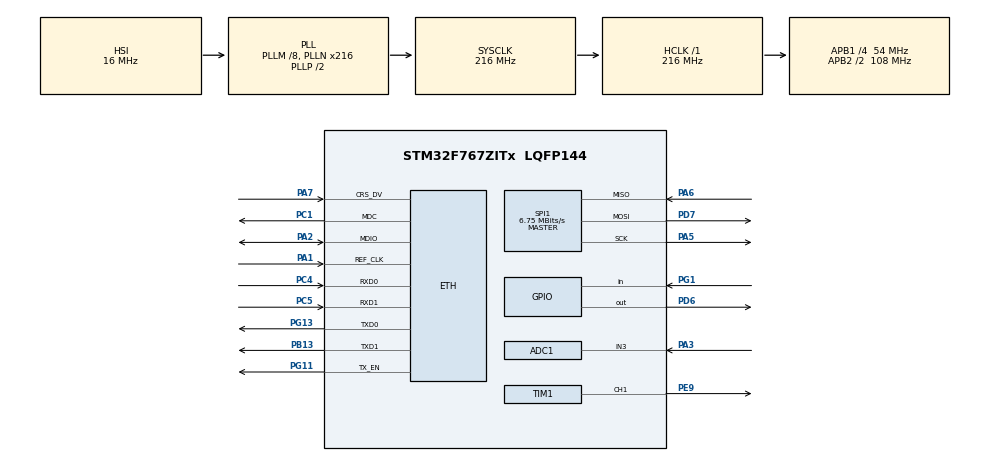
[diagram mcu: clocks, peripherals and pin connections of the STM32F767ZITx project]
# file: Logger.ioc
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ADC1.Channel-0\#ChannelRegularConversion=ADC_CHANNEL_3
ADC1.ContinuousConvMode=ENABLE
ADC1.NbrOfConversionFlag=1
ADC1.Rank-0\#ChannelRegularConversion=1
ADC1.SamplingTime-0\#ChannelRegularConversion=ADC_SAMPLETIME_3CYCLES
ADC1.master=1
CORTEX_M7.CPU_DCache=Enabled
CORTEX_M7.CPU_ICache=Enabled
CORTEX_M7.PREFETCH_ENABLE=1
ETH.MediaInterface=HAL_ETH_RMII_MODE
ETH.RxMode=ETH_RXINTERRUPT_MODE
FATFS._MAX_SS=4096
FATFS._USE_LFN=3
FREERTOS.INCLUDE_vTaskDelayUntil=1
FREERTOS.Tasks01=defaultTask,0,256,StartDefaultTask,Default,NULL,Dynamic,NULL,NULL
FREERTOS.configTOTAL_HEAP_SIZE=61440
FREERTOS.configUSE_NEWLIB_REENTRANT=1
LWIP.BSP.number=1
LWIP.CMSIS_VERSION-Enabled=1
LWIP.GATEWAY_ADDRESS=192.168.000.001
LWIP.IP_ADDRESS=192.168.000.123
LWIP.LWIP_DHCP=0
LWIP.MEM_SIZE=10*1024
LWIP.NETMASK_ADDRESS=255.255.255.000
LWIP.Version=v2.1.2_Cube
LWIP0.BSP.STBoard=false
LWIP0.BSP.api=BSP_COMPONENT_DRIVER
LWIP0.BSP.component=LAN8742
LWIP0.BSP.instance=LAN8742
LWIP0.BSP.name=Driver_PHY
LWIP0.BSP.semaphore=S_LAN8742
LWIP0.BSP.solution=LAN8742
Mcu.Family=STM32F7
Mcu.Name=STM32F767ZITx
Mcu.Package=LQFP144
NVIC.ETH_IRQn=true\:5\:0\:false\:false\:true\:true\:false\:true\:true
NVIC.PriorityGroup=NVIC_PRIORITYGROUP_4
NVIC.TIM6_DAC_IRQn=true\:15\:0\:false\:false\:true\:false\:false\:true\:true
NVIC.TimeBase=TIM6_DAC_IRQn
NVIC.TimeBaseIP=TIM6
PA1.Mode=RMII
PA1.Signal=ETH_REF_CLK
PA13.Mode=Serial_Wire
PA13.Signal=SYS_JTMS-SWDIO
PA14.Mode=Serial_Wire
PA14.Signal=SYS_JTCK-SWCLK
PA2.Mode=RMII
PA2.Signal=ETH_MDIO
PA3.Signal=ADCx_IN3
PA5.Mode=Full_Duplex_Master
PA5.Signal=SPI1_SCK
PA6.Mode=Full_Duplex_Master
PA6.Signal=SPI1_MISO
PA7.Mode=RMII
PA7.Signal=ETH_CRS_DV
PB13.Mode=RMII
PB13.Signal=ETH_TXD1
PC1.Mode=RMII
PC1.Signal=ETH_MDC
PC4.Mode=RMII
PC4.Signal=ETH_RXD0
PC5.Mode=RMII
PC5.Signal=ETH_RXD1
PD6.Signal=GPIO_Output
PD7.Mode=Full_Duplex_Master
PD7.Signal=SPI1_MOSI
PE9.Signal=S_TIM1_CH1
PG1.Signal=GPIO_Input
PG11.Mode=RMII
PG11.Signal=ETH_TX_EN
PG13.Mode=RMII
PG13.Signal=ETH_TXD0
ProjectManager.HeapSize=0x200
ProjectManager.StackSize=0x400
ProjectManager.TargetToolchain=STM32CubeIDE
RCC.48MHZClocksFreq_Value=24000000
RCC.AHBFreq_Value=216000000
RCC.APB1CLKDivider=RCC_HCLK_DIV4
RCC.APB1Freq_Value=54000000
RCC.APB1TimFreq_Value=108000000
RCC.APB2CLKDivider=RCC_HCLK_DIV2
RCC.APB2Freq_Value=108000000
RCC.APB2TimFreq_Value=216000000
RCC.CortexFreq_Value=216000000
RCC.HCLKFreq_Value=216000000
RCC.HSE_VALUE=16000000
RCC.HSI_VALUE=16000000
RCC.LSE_VALUE=32768
RCC.PLLM=8
RCC.PLLMUL=RCC_PLL_MUL9
RCC.PLLN=216
RCC.PRESCALERUSB=RCC_USBCLKSOURCE_PLL_DIV1_5
RCC.SYSCLKFreq_VALUE=216000000
RCC.SYSCLKSource=RCC_SYSCLKSOURCE_PLLCLK
RCC.SYSCLKSourceVirtual=RCC_SYSCLKSOURCE_PLLCLK
RCC.USBFreq_Value=216000000
RCC.VCOOutputFreq_Value=432000000
RTC.Date=29
RTC.Hours=18
RTC.Minutes=30
RTC.Month=RTC_MONTH_AUGUST
RTC.WeekDay=RTC_WEEKDAY_TUESDAY
RTC.Year=23
SH.ADCx_IN3.0=ADC1_IN3,IN3
SH.S_TIM1_CH1.0=TIM1_CH1,PWM Generation1 CH1
SPI1.BaudRatePrescaler=SPI_BAUDRATEPRESCALER_16
SPI1.CalculateBaudRate=6.75 MBits/s
SPI1.DataSize=SPI_DATASIZE_8BIT
SPI1.Direction=SPI_DIRECTION_2LINES
SPI1.Mode=SPI_MODE_MASTER
SPI1.VirtualType=VM_MASTER
TIM1.Channel-PWM\ Generation1\ CH1=TIM_CHANNEL_1
TIM1.Period=5000-1
TIM1.Prescaler=10800-1
VP_FATFS_VS_Generic.Mode=User_defined
VP_FREERTOS_VS_CMSIS_V1.Mode=CMSIS_V1
VP_LWIP_VS_Enabled.Mode=Enabled
VP_RTC_VS_RTC_Activate.Mode=RTC_Enabled
VP_RTC_VS_RTC_Calendar.Mode=RTC_Calendar
VP_SYS_VS_tim6.Mode=TIM6
VP_TIM1_VS_ClockSourceINT.Mode=Internal
board=NUCLEO-F767ZI

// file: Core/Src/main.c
/* USER CODE BEGIN Header */
/**
  ******************************************************************************
  * @file           : main.c
  * @brief          : Main program body
  ******************************************************************************
  * @attention
  *
  * Copyright (c) 2023 STMicroelectronics.
  * All rights reserved.
  *
  * This software is licensed under terms that can be found in the LICENSE file
  * in the root directory of this software component.
  * If no LICENSE file comes with this software, it is provided AS-IS.
  *
  ******************************************************************************
  */
/* USER CODE END Header */
#include "main.h"
#include "cmsis_os.h"
#include "fatfs.h"
#include "lwip.h"

/* USER CODE BEGIN Includes */
#include "string.h"
#include "lwip/opt.h"
#include "lwip/api.h"
#include "lwip/sys.h"
#include "tcpserverTask.h"
#include "configTask.h"
#include "loggerTask.h"
/* USER CODE END Includes */

ADC_HandleTypeDef hadc1;
RTC_HandleTypeDef hrtc;
SPI_HandleTypeDef hspi1;
TIM_HandleTypeDef htim1;
osThreadId defaultTaskHandle;

/* USER CODE BEGIN PV */

struct netconn *client_conn;

typedef struct
{
	uint8_t setAnalog;
	uint8_t setDigital;
	uint8_t setSamplerate;
	uint8_t setOperation;
}logConfig;

TaskHandle_t configTaskHandle;
TaskHandle_t loggerTaskHandle;

QueueHandle_t configQueueHandle = NULL;
EventGroupHandle_t eventhandleLog;

/* USER CODE END PV */

void SystemClock_Config(void);
static void MX_GPIO_Init(void);
static void MX_RTC_Init(void);
static void MX_ADC1_Init(void);
static void MX_TIM1_Init(void);
static void MX_SPI1_Init(void);
void StartDefaultTask(void const * argument);

int main(void)
{

  /* Enable I-Cache---------------------------------------------------------*/
  SCB_EnableICache();

  /* Enable D-Cache---------------------------------------------------------*/
  SCB_EnableDCache();

  /* MCU Configuration--------------------------------------------------------*/

  /* Reset of all peripherals, Initializes the Flash interface and the Systick. */
  HAL_Init();

  /* Configure the system clock */
  SystemClock_Config();

  /* Initialize all configured peripherals */
  MX_GPIO_Init();
  MX_RTC_Init();
  MX_ADC1_Init();
  MX_TIM1_Init();
  MX_SPI1_Init();
  MX_FATFS_Init();
  /* USER CODE BEGIN 2 */

  TIM1->CCR1 = 2500;
  HAL_TIM_PWM_Start(&htim1, TIM_CHANNEL_1);

  /* USER CODE END 2 */

  /* Create the thread(s) */
  /* definition and creation of defaultTask */
  osThreadDef(defaultTask, StartDefaultTask, osPriorityNormal, 0, 256);
  defaultTaskHandle = osThreadCreate(osThread(defaultTask), NULL);

  /* USER CODE BEGIN RTOS_THREADS */
  BaseType_t status;
  status = xTaskCreate(configTask, "config-Task", 512, NULL, osPriorityNormal, &configTaskHandle);
  configASSERT(status == pdPASS);

  status = xTaskCreate(loggerTask, "logger-Task", 512, NULL, osPriorityNormal, &loggerTaskHandle);
  configASSERT(status == pdPASS);

  configQueueHandle = xQueueCreate(1, sizeof(logConfig));
  if(configQueueHandle == NULL)
  {
	  printf("Queue creation failed...\n");
  }

  eventhandleLog = xEventGroupCreate();
  if(eventhandleLog == NULL)
  {
	  printf("Event Group creation failed...\n");
  }

  /* USER CODE END RTOS_THREADS */

  /* Start scheduler */
  osKernelStart();

  /* We should never get here as control is now taken by the scheduler */
  /* Infinite loop */
  while (1)
  {

  }
}

void SystemClock_Config(void)
{
  RCC_OscInitTypeDef RCC_OscInitStruct = {0};
  RCC_ClkInitTypeDef RCC_ClkInitStruct = {0};

  /** Configure the main internal regulator output voltage
  */
  __HAL_RCC_PWR_CLK_ENABLE();
  __HAL_PWR_VOLTAGESCALING_CONFIG(PWR_REGULATOR_VOLTAGE_SCALE1);

  /** Initializes the RCC Oscillators according to the specified parameters
  * in the RCC_OscInitTypeDef structure.
  */
  RCC_OscInitStruct.OscillatorType = RCC_OSCILLATORTYPE_HSI|RCC_OSCILLATORTYPE_LSI;
  RCC_OscInitStruct.HSIState = RCC_HSI_ON;
  RCC_OscInitStruct.HSICalibrationValue = RCC_HSICALIBRATION_DEFAULT;
  RCC_OscInitStruct.LSIState = RCC_LSI_ON;
  RCC_OscInitStruct.PLL.PLLState = RCC_PLL_ON;
  RCC_OscInitStruct.PLL.PLLSource = RCC_PLLSOURCE_HSI;
  RCC_OscInitStruct.PLL.PLLM = 8;
  RCC_OscInitStruct.PLL.PLLN = 216;
  RCC_OscInitStruct.PLL.PLLP = RCC_PLLP_DIV2;
  RCC_OscInitStruct.PLL.PLLQ = 2;
  RCC_OscInitStruct.PLL.PLLR = 2;
  if (HAL_RCC_OscConfig(&RCC_OscInitStruct) != HAL_OK)
  {
    Error_Handler();
  }

  /** Activate the Over-Drive mode
  */
  if (HAL_PWREx_EnableOverDrive() != HAL_OK)
  {
    Error_Handler();
  }

  /** Initializes the CPU, AHB and APB buses clocks
  */
  RCC_ClkInitStruct.ClockType = RCC_CLOCKTYPE_HCLK|RCC_CLOCKTYPE_SYSCLK
                              |RCC_CLOCKTYPE_PCLK1|RCC_CLOCKTYPE_PCLK2;
  RCC_ClkInitStruct.SYSCLKSource = RCC_SYSCLKSOURCE_PLLCLK;
  RCC_ClkInitStruct.AHBCLKDivider = RCC_SYSCLK_DIV1;
  RCC_ClkInitStruct.APB1CLKDivider = RCC_HCLK_DIV4;
  RCC_ClkInitStruct.APB2CLKDivider = RCC_HCLK_DIV2;

  if (HAL_RCC_ClockConfig(&RCC_ClkInitStruct, FLASH_LATENCY_7) != HAL_OK)
  {
    Error_Handler();
  }
}

static void MX_ADC1_Init(void)
{

  ADC_ChannelConfTypeDef sConfig = {0};

  /** Configure the global features of the ADC (Clock, Resolution, Data Alignment and number of conversion)
  */
  hadc1.Instance = ADC1;
  hadc1.Init.ClockPrescaler = ADC_CLOCK_SYNC_PCLK_DIV4;
  hadc1.Init.Resolution = ADC_RESOLUTION_12B;
  hadc1.Init.ScanConvMode = ADC_SCAN_DISABLE;
  hadc1.Init.ContinuousConvMode = ENABLE;
  hadc1.Init.DiscontinuousConvMode = DISABLE;
  hadc1.Init.ExternalTrigConvEdge = ADC_EXTERNALTRIGCONVEDGE_NONE;
  hadc1.Init.ExternalTrigConv = ADC_SOFTWARE_START;
  hadc1.Init.DataAlign = ADC_DATAALIGN_RIGHT;
  hadc1.Init.NbrOfConversion = 1;
  hadc1.Init.DMAContinuousRequests = DISABLE;
  hadc1.Init.EOCSelection = ADC_EOC_SINGLE_CONV;
  if (HAL_ADC_Init(&hadc1) != HAL_OK)
  {
    Error_Handler();
  }

  /** Configure for the selected ADC regular channel its corresponding rank in the sequencer and its sample time.
  */
  sConfig.Channel = ADC_CHANNEL_3;
  sConfig.Rank = ADC_REGULAR_RANK_1;
  sConfig.SamplingTime = ADC_SAMPLETIME_3CYCLES;
  if (HAL_ADC_ConfigChannel(&hadc1, &sConfig) != HAL_OK)
  {
    Error_Handler();
  }

}

static void MX_RTC_Init(void)
{

  RTC_TimeTypeDef sTime = {0};
  RTC_DateTypeDef sDate = {0};

  /** Initialize RTC Only
  */
  hrtc.Instance = RTC;
  hrtc.Init.HourFormat = RTC_HOURFORMAT_24;
  hrtc.Init.AsynchPrediv = 127;
  hrtc.Init.SynchPrediv = 255;
  hrtc.Init.OutPut = RTC_OUTPUT_DISABLE;
  hrtc.Init.OutPutPolarity = RTC_OUTPUT_POLARITY_HIGH;
  hrtc.Init.OutPutType = RTC_OUTPUT_TYPE_OPENDRAIN;
  if (HAL_RTC_Init(&hrtc) != HAL_OK)
  {
    Error_Handler();
  }

  /** Initialize RTC and set the Time and Date
  */
  sTime.Hours = 0x18;
  sTime.Minutes = 0x30;
  sTime.Seconds = 0x0;
  sTime.DayLightSaving = RTC_DAYLIGHTSAVING_NONE;
  sTime.StoreOperation = RTC_STOREOPERATION_RESET;
  if (HAL_RTC_SetTime(&hrtc, &sTime, RTC_FORMAT_BCD) != HAL_OK)
  {
    Error_Handler();
  }
  sDate.WeekDay = RTC_WEEKDAY_TUESDAY;
  sDate.Month = RTC_MONTH_AUGUST;
  sDate.Date = 0x29;
  sDate.Year = 0x23;

  if (HAL_RTC_SetDate(&hrtc, &sDate, RTC_FORMAT_BCD) != HAL_OK)
  {
    Error_Handler();
  }

}

static void MX_SPI1_Init(void)
{

  /* SPI1 parameter configuration*/
  hspi1.Instance = SPI1;
  hspi1.Init.Mode = SPI_MODE_MASTER;
  hspi1.Init.Direction = SPI_DIRECTION_2LINES;
  hspi1.Init.DataSize = SPI_DATASIZE_8BIT;
  hspi1.Init.CLKPolarity = SPI_POLARITY_LOW;
  hspi1.Init.CLKPhase = SPI_PHASE_1EDGE;
  hspi1.Init.NSS = SPI_NSS_SOFT;
  hspi1.Init.BaudRatePrescaler = SPI_BAUDRATEPRESCALER_16;
  hspi1.Init.FirstBit = SPI_FIRSTBIT_MSB;
  hspi1.Init.TIMode = SPI_TIMODE_DISABLE;
  hspi1.Init.CRCCalculation = SPI_CRCCALCULATION_DISABLE;
  hspi1.Init.CRCPolynomial = 7;
  hspi1.Init.CRCLength = SPI_CRC_LENGTH_DATASIZE;
  hspi1.Init.NSSPMode = SPI_NSS_PULSE_ENABLE;
  if (HAL_SPI_Init(&hspi1) != HAL_OK)
  {
    Error_Handler();
  }

}

static void MX_TIM1_Init(void)
{

  TIM_ClockConfigTypeDef sClockSourceConfig = {0};
  TIM_MasterConfigTypeDef sMasterConfig = {0};
  TIM_OC_InitTypeDef sConfigOC = {0};
  TIM_BreakDeadTimeConfigTypeDef sBreakDeadTimeConfig = {0};

  htim1.Instance = TIM1;
  htim1.Init.Prescaler = 10800-1;
  htim1.Init.CounterMode = TIM_COUNTERMODE_UP;
  htim1.Init.Period = 5000-1;
  htim1.Init.ClockDivision = TIM_CLOCKDIVISION_DIV1;
  htim1.Init.RepetitionCounter = 0;
  htim1.Init.AutoReloadPreload = TIM_AUTORELOAD_PRELOAD_DISABLE;
  if (HAL_TIM_Base_Init(&htim1) != HAL_OK)
  {
    Error_Handler();
  }
  sClockSourceConfig.ClockSource = TIM_CLOCKSOURCE_INTERNAL;
  if (HAL_TIM_ConfigClockSource(&htim1, &sClockSourceConfig) != HAL_OK)
  {
    Error_Handler();
  }
  if (HAL_TIM_PWM_Init(&htim1) != HAL_OK)
  {
    Error_Handler();
  }
  sMasterConfig.MasterOutputTrigger = TIM_TRGO_RESET;
  sMasterConfig.MasterOutputTrigger2 = TIM_TRGO2_RESET;
  sMasterConfig.MasterSlaveMode = TIM_MASTERSLAVEMODE_DISABLE;
  if (HAL_TIMEx_MasterConfigSynchronization(&htim1, &sMasterConfig) != HAL_OK)
  {
    Error_Handler();
  }
  sConfigOC.OCMode = TIM_OCMODE_PWM1;
  sConfigOC.Pulse = 0;
  sConfigOC.OCPolarity = TIM_OCPOLARITY_HIGH;
  sConfigOC.OCNPolarity = TIM_OCNPOLARITY_HIGH;
  sConfigOC.OCFastMode = TIM_OCFAST_DISABLE;
  sConfigOC.OCIdleState = TIM_OCIDLESTATE_RESET;
  sConfigOC.OCNIdleState = TIM_OCNIDLESTATE_RESET;
  if (HAL_TIM_PWM_ConfigChannel(&htim1, &sConfigOC, TIM_CHANNEL_1) != HAL_OK)
  {
    Error_Handler();
  }
  sBreakDeadTimeConfig.OffStateRunMode = TIM_OSSR_DISABLE;
  sBreakDeadTimeConfig.OffStateIDLEMode = TIM_OSSI_DISABLE;
  sBreakDeadTimeConfig.LockLevel = TIM_LOCKLEVEL_OFF;
  sBreakDeadTimeConfig.DeadTime = 0;
  sBreakDeadTimeConfig.BreakState = TIM_BREAK_DISABLE;
  sBreakDeadTimeConfig.BreakPolarity = TIM_BREAKPOLARITY_HIGH;
  sBreakDeadTimeConfig.BreakFilter = 0;
  sBreakDeadTimeConfig.Break2State = TIM_BREAK2_DISABLE;
  sBreakDeadTimeConfig.Break2Polarity = TIM_BREAK2POLARITY_HIGH;
  sBreakDeadTimeConfig.Break2Filter = 0;
  sBreakDeadTimeConfig.AutomaticOutput = TIM_AUTOMATICOUTPUT_DISABLE;
  if (HAL_TIMEx_ConfigBreakDeadTime(&htim1, &sBreakDeadTimeConfig) != HAL_OK)
  {
    Error_Handler();
  }
  HAL_TIM_MspPostInit(&htim1);

}

static void MX_GPIO_Init(void)
{
  GPIO_InitTypeDef GPIO_InitStruct = {0};

  /* GPIO Ports Clock Enable */
  __HAL_RCC_GPIOC_CLK_ENABLE();
  __HAL_RCC_GPIOA_CLK_ENABLE();
  __HAL_RCC_GPIOG_CLK_ENABLE();
  __HAL_RCC_GPIOE_CLK_ENABLE();
  __HAL_RCC_GPIOB_CLK_ENABLE();
  __HAL_RCC_GPIOD_CLK_ENABLE();

  /*Configure GPIO pin Output Level */
  HAL_GPIO_WritePin(GPIOD, GPIO_PIN_6, GPIO_PIN_RESET);

  /*Configure GPIO pin : PG1 */
  GPIO_InitStruct.Pin = GPIO_PIN_1;
  GPIO_InitStruct.Mode = GPIO_MODE_INPUT;
  GPIO_InitStruct.Pull = GPIO_NOPULL;
  HAL_GPIO_Init(GPIOG, &GPIO_InitStruct);

  /*Configure GPIO pin : PD6 */
  GPIO_InitStruct.Pin = GPIO_PIN_6;
  GPIO_InitStruct.Mode = GPIO_MODE_OUTPUT_PP;
  GPIO_InitStruct.Pull = GPIO_NOPULL;
  GPIO_InitStruct.Speed = GPIO_SPEED_FREQ_LOW;
  HAL_GPIO_Init(GPIOD, &GPIO_InitStruct);

}

void StartDefaultTask(void const * argument)
{
  /* init code for LWIP */
  MX_LWIP_Init();
  /* USER CODE BEGIN 5 */
  tcpserver_init();
  /* Infinite loop */
  for(;;)
  {
		printf("Default Task..\n");
	    osDelay(60000);
  }
  /* USER CODE END 5 */
}

void HAL_TIM_PeriodElapsedCallback(TIM_HandleTypeDef *htim)
{
  if (htim->Instance == TIM6) {
    HAL_IncTick();
  }
}

void Error_Handler(void)
{
  __disable_irq();
  while (1)
  {
  }
}
